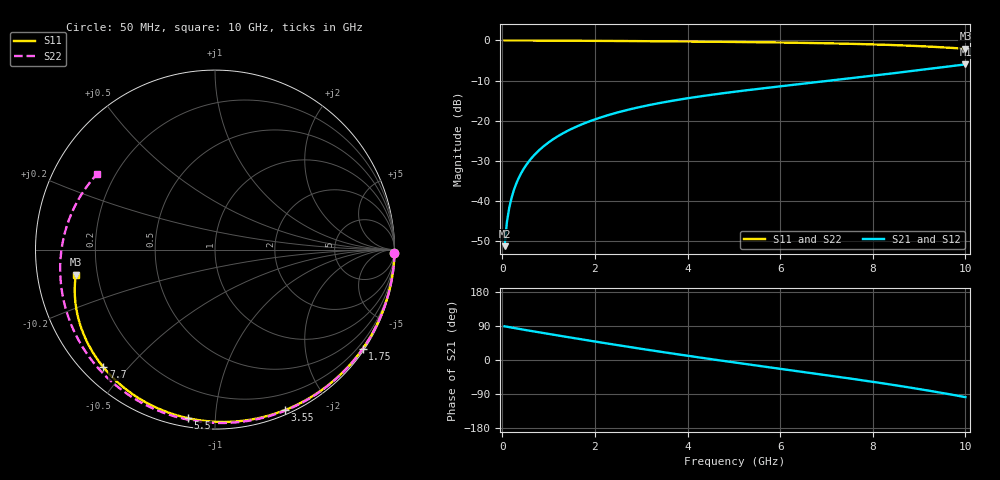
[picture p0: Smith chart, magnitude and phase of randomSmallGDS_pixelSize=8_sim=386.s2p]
! freq	dB(S11)	phase(S11)	dB(S12)	phase(S12)
!  dB(S21)	phase(S21)	dB(S22)	phase(S22)
!S-par simulation data
#  GHz  S  DB  R 50
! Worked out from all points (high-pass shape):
!   200 points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, 50 MHz to 10 GHz, reference 50 ohm
!   highest |S21| = -5.96 dB at 10 GHz (marker M1); lowest = -51.2 dB at 50 MHz (marker M2)
!   |S21| within 3 dB of the highest: 7.869 GHz to end of sweep
!   lowest |S11| = -2.1 dB at 10 GHz (marker M3), VSWR 8.41, Z = 5.99 - j4.39 ohm
!   |S11| at or under -10 dB: nowhere
!   |S22| runs from -2.2 to 0.0 dB; largest |S21 - S12| = 0
!   S11 on the Smith chart (normalised r, x): 50 MHz: open; 1.75 GHz: 0.05, -3.29; 3.55 GHz: 0.04, -1.52; 5.5 GHz: 0.04, -0.85; 7.7 GHz: 0.06, -0.43; 10 GHz: 0.12, -0.09
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0.05  -0.00 -1.0  -51.20 88.9  -51.20 88.9  -0.00 -1.1
0.1  -0.00 -2.0  -45.18 87.8  -45.18 87.8  -0.00 -2.2
0.15  -0.00 -3.0  -41.67 86.7  -41.67 86.7  -0.00 -3.3
0.2  -0.00 -3.9  -39.18 85.6  -39.18 85.6  -0.00 -4.5
0.25  -0.00 -4.9  -37.25 84.5  -37.25 84.5  -0.00 -5.6
0.35  -0.01 -6.9  -34.34 82.3  -34.34 82.3  -0.01 -7.8
0.5  -0.01 -9.8  -31.28 79.1  -31.28 79.1  -0.01 -11.1
0.7  -0.02 -13.7  -28.40 75.0  -28.40 75.0  -0.02 -15.5
1  -0.04 -19.5  -25.38 68.8  -25.38 68.8  -0.04 -22.1
1.35  -0.05 -26.3  -22.86 61.7  -22.86 61.7  -0.06 -29.6
1.75  -0.08 -33.8  -20.72 53.7  -20.72 53.7  -0.08 -38.2
2.6  -0.14 -49.6  -17.58 37.1  -17.58 37.1  -0.15 -56.0
3.4  -0.20 -63.9  -15.57 22.1  -15.57 22.1  -0.22 -72.3
3.55  -0.22 -66.5  -15.25 19.3  -15.25 19.3  -0.23 -75.2
4.3  -0.29 -79.4  -13.87 5.9  -13.87 5.9  -0.31 -89.9
5.05  -0.37 -91.8  -12.72 -7.1  -12.72 -7.1  -0.39 -104.3
5.5  -0.43 -99.0  -12.09 -14.8  -12.09 -14.8  -0.46 -112.9
6.7  -0.64 -118.0  -10.51 -35.0  -10.51 -35.0  -0.67 -135.9
7.7  -0.88 -133.5  -9.19 -52.2  -9.19 -52.2  -0.93 -156.1
8.35  -1.11 -143.6  -8.30 -64.0  -8.30 -64.0  -1.17 -170.1
9.2  -1.52 -157.0  -7.09 -80.7  -7.09 -80.7  -1.59 169.5
10  -2.08 -169.8  -5.96 -98.0  -5.96 -98.0  -2.15 147.5
